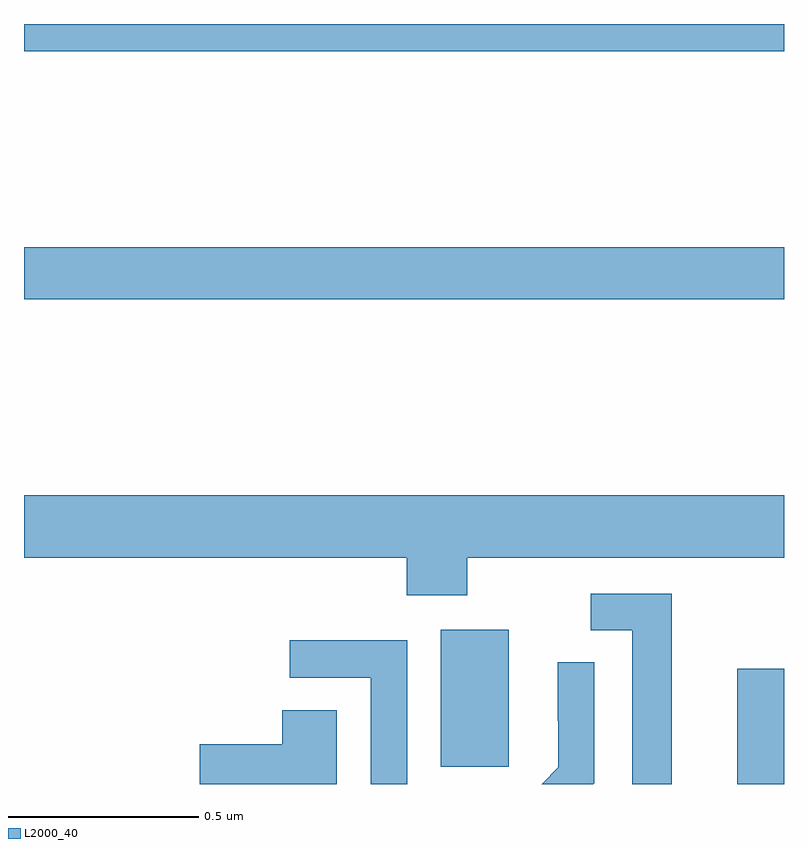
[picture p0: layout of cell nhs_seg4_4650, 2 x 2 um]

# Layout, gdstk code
import gdstk
lib = gdstk.Library(unit=1e-6, precision=1e-09)
def R(c, l, rs):  # rectangles x0, y0, x1, y1
    for r in rs: c.add(gdstk.rectangle(r[:2], r[2:], *l))
def P(c, l, *ps):  # polygons
    for p in ps: c.add(gdstk.Polygon(p, *l))
L2000_40 = (2000, 40)

nhs_seg4_4650 = lib.new_cell('nhs_seg4_4650')
R(nhs_seg4_4650, L2000_40, [(169.877,786.9,170,787.203), (169.097,786.945,169.276,787.306), (168,788.176,170,788.312), (168,788.828,170,788.9)])
P(nhs_seg4_4650, L2000_40, [(169.167,787.496),(170,787.496),(170,787.66),(168,787.66),(168,787.496),(169.007,787.496),(169.007,787.397),(169.167,787.397)],
  [(169.705,787.401),(169.491,787.401),(169.491,787.305),(169.601,787.305),(169.601,786.9),(169.705,786.9)],
  [(169.008,787.278),(168.699,787.278),(168.699,787.179),(168.912,787.179),(168.912,786.9),(169.008,786.9)],
  [(169.5,786.902),(169.5,787.22),(169.404,787.22),(169.404,787.066),(169.406,787.066),(169.406,786.944),(169.362,786.9),(169.498,786.9)],
  [(168.823,787.094),(168.68,787.094),(168.68,787.004),(168.462,787.004),(168.462,786.9),(168.823,786.9)])

lib.write_gds('nhs_seg4_4650.gds')
